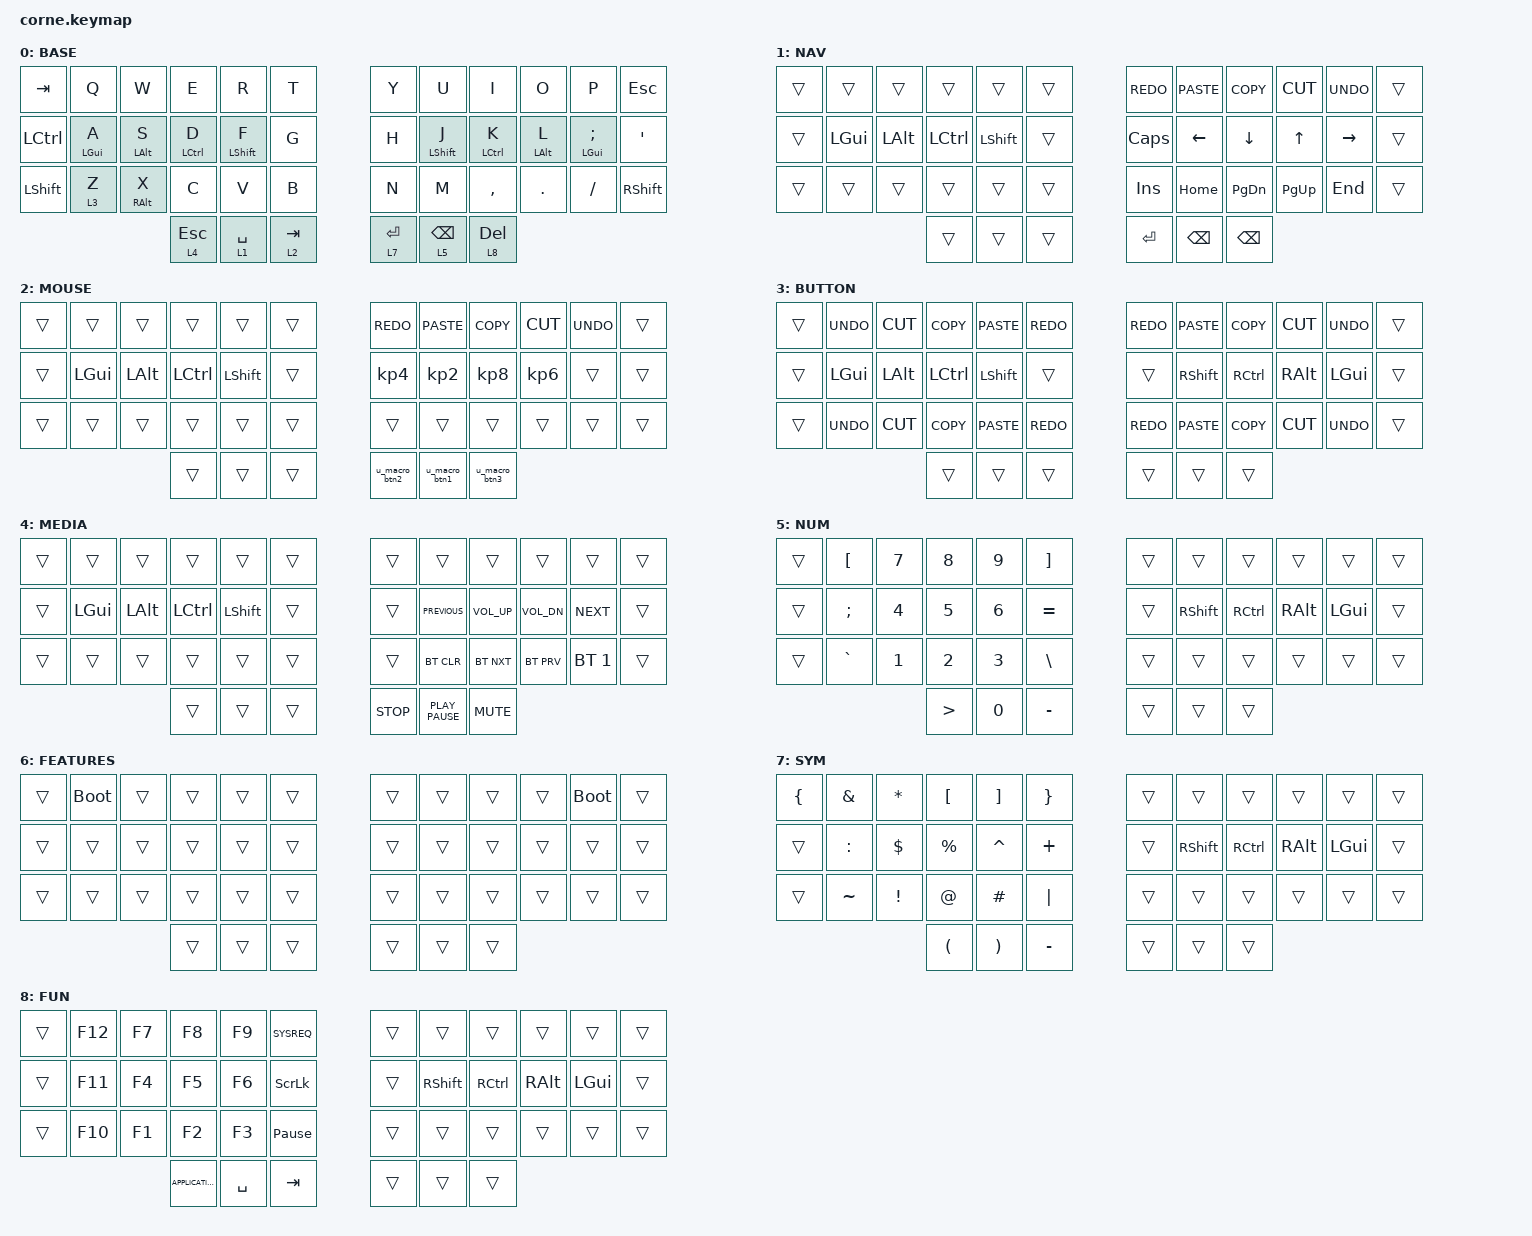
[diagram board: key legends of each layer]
/*
 * Copyright (c) 2020 The ZMK Contributors
 *
 * SPDX-License-Identifier: MIT
 */

#include <behaviors.dtsi>
#include <dt-bindings/zmk/bt.h>
#include <dt-bindings/zmk/keys.h>
#include <dt-bindings/zmk/mouse.h>

/ {
    behaviors {
        u_mt: u_mt {
            compatible = "zmk,behavior-hold-tap";
            label = "u_mt";
            #binding-cells = <2>;
            tapping_term_ms = <200>;
            flavor = "tap-preferred";
            bindings =
                <&kp>,
                <&kp>;

            tapping-term-ms = <200>;
        };
        u_lt: u_lt {
            compatible = "zmk,behavior-hold-tap";
            label = "u_lt";
            #binding-cells = <2>;
            tapping_term_ms = <200>;
            flavor = "tap-preferred";
            bindings =
                <&mo>,
                <&kp>;

            tapping-term-ms = <200>;
        };
    };

    macros {
        u_macro_btn1: u_macro_btn1 {
            compatible = "zmk,behavior-macro";
            label = "U_MACRO_BTN1";
            #binding-cells = <0>;
            bindings = <&kp KP_SLASH &kp KP_N5>;
        };
        u_macro_btn2: u_macro_btn2 {
            compatible = "zmk,behavior-macro";
            label = "U_MACRO_BTN2";
            #binding-cells = <0>;
            bindings = <&kp KP_MINUS &kp KP_N5>;
        };
        u_macro_btn3: u_macro_btn3 {
            compatible = "zmk,behavior-macro";
            label = "U_MACRO_BTN3";
            #binding-cells = <0>;
            bindings = <&kp KP_ASTERISK &kp KP_NUMBER_5>;
        };
    };

    keymap {
        compatible = "zmk,keymap";

        Base {
            bindings = <
  &kp TAB         &kp Q         &kp W          &kp E           &kp R        &kp T          &kp Y           &kp U          &kp I         &kp O            &kp P    &kp ESC
&kp LCTRL  &u_mt LGUI A  &u_mt LALT S  &u_mt LCTRL D  &u_mt LSHIFT F        &kp G          &kp H  &u_mt LSHIFT J  &u_mt LCTRL K  &u_mt LALT L  &u_mt LGUI SEMI    &kp SQT
&kp LSHFT     &u_lt 3 Z  &u_mt RALT X          &kp C           &kp V        &kp B          &kp N           &kp M      &kp COMMA       &kp DOT         &kp FSLH  &kp RSHFT
                                         &u_lt 4 ESC   &u_lt 1 SPACE  &u_lt 2 TAB    &u_lt 7 RET    &u_lt 5 BSPC    &u_lt 8 DEL
            >;

            label = "BASE";
        };

        Nav {
            bindings = <
&trans    &trans        &trans            &trans          &trans  &trans      &kp K_REDO     &kp K_PASTE      &kp K_COPY     &kp K_CUT       &kp K_UNDO  &trans
&trans  &kp LGUI  &kp LEFT_ALT  &kp LEFT_CONTROL  &kp LEFT_SHIFT  &trans    &kp CAPSLOCK  &kp LEFT_ARROW  &kp DOWN_ARROW  &kp UP_ARROW  &kp RIGHT_ARROW  &trans
&trans    &trans        &trans            &trans          &trans  &trans      &kp INSERT        &kp HOME   &kp PAGE_DOWN   &kp PAGE_UP          &kp END  &trans
                                          &trans          &trans  &trans      &kp RETURN        &kp BSPC   &kp BACKSPACE
            >;

            label = "NAV";
        };

        Mouse {
            bindings = <
&trans    &trans        &trans            &trans          &trans  &trans       &kp K_REDO      &kp K_PASTE       &kp K_COPY  &kp K_CUT  &kp K_UNDO  &trans
&trans  &kp LGUI  &kp LEFT_ALT  &kp LEFT_CONTROL  &kp LEFT_SHIFT  &trans        &kp KP_N4  &kp KP_NUMBER_2  &kp KP_NUMBER_8  &kp KP_N6      &trans  &trans
&trans    &trans        &trans            &trans          &trans  &trans           &trans           &trans           &trans     &trans      &trans  &trans
                                          &trans          &trans  &trans    &u_macro_btn2    &u_macro_btn1    &u_macro_btn3
            >;

            label = "MOUSE";
        };

        Button {
            bindings = <
&trans  &kp K_UNDO     &kp K_CUT        &kp K_COPY     &kp K_PASTE  &kp K_REDO    &kp K_REDO      &kp K_PASTE         &kp K_COPY      &kp K_CUT  &kp K_UNDO  &trans
&trans    &kp LGUI  &kp LEFT_ALT  &kp LEFT_CONTROL  &kp LEFT_SHIFT      &trans        &trans  &kp RIGHT_SHIFT  &kp RIGHT_CONTROL  &kp RIGHT_ALT    &kp LGUI  &trans
&trans  &kp K_UNDO     &kp K_CUT        &kp K_COPY     &kp K_PASTE  &kp K_REDO    &kp K_REDO      &kp K_PASTE         &kp K_COPY      &kp K_CUT  &kp K_UNDO  &trans
                                            &trans          &trans      &trans        &trans           &trans             &trans
            >;

            label = "BUTTON";
        };

        Media {
            bindings = <
&trans    &trans        &trans            &trans          &trans  &trans        &trans            &trans           &trans        &trans        &trans  &trans
&trans  &kp LGUI  &kp LEFT_ALT  &kp LEFT_CONTROL  &kp LEFT_SHIFT  &trans        &trans    &kp K_PREVIOUS  &kp C_VOLUME_UP  &kp C_VOL_DN    &kp K_NEXT  &trans
&trans    &trans        &trans            &trans          &trans  &trans        &trans        &bt BT_CLR       &bt BT_NXT    &bt BT_PRV  &bt BT_SEL 1  &trans
                                          &trans          &trans  &trans    &kp K_STOP  &kp K_PLAY_PAUSE       &kp K_MUTE
            >;

            label = "MEDIA";
        };

        Num {
            bindings = <
&trans  &kp LEFT_BRACKET  &kp NUMBER_7      &kp NUMBER_8  &kp NUMBER_9  &kp RIGHT_BRACKET    &trans           &trans             &trans         &trans    &trans  &trans
&trans     &kp SEMICOLON  &kp NUMBER_4      &kp NUMBER_5  &kp NUMBER_6          &kp EQUAL    &trans  &kp RIGHT_SHIFT  &kp RIGHT_CONTROL  &kp RIGHT_ALT  &kp LGUI  &trans
&trans         &kp GRAVE  &kp NUMBER_1      &kp NUMBER_2  &kp NUMBER_3      &kp BACKSLASH    &trans           &trans             &trans         &trans    &trans  &trans
                                        &kp GREATER_THAN  &kp NUMBER_0          &kp MINUS    &trans           &trans             &trans
            >;

            label = "NUM";
        };

        Features {
            bindings = <
&trans  &bootloader  &trans  &trans  &trans  &trans    &trans  &trans  &trans  &trans  &bootloader  &trans
&trans       &trans  &trans  &trans  &trans  &trans    &trans  &trans  &trans  &trans       &trans  &trans
&trans       &trans  &trans  &trans  &trans  &trans    &trans  &trans  &trans  &trans       &trans  &trans
                             &trans  &trans  &trans    &trans  &trans  &trans
            >;

            label = "FEATURES";
        };

        Sym {
            bindings = <
&kp LEFT_BRACE  &kp AMPERSAND        &kp ASTRK      &kp LEFT_BRACKET      &kp RIGHT_BRACKET  &kp RIGHT_BRACE    &trans           &trans     &trans         &trans    &trans  &trans
        &trans      &kp COLON       &kp DOLLAR           &kp PERCENT              &kp CARET         &kp PLUS    &trans  &kp RIGHT_SHIFT  &kp RCTRL  &kp RIGHT_ALT  &kp LGUI  &trans
        &trans      &kp TILDE  &kp EXCLAMATION           &kp AT_SIGN               &kp HASH         &kp PIPE    &trans           &trans     &trans         &trans    &trans  &trans
                                                &kp LEFT_PARENTHESIS  &kp RIGHT_PARENTHESIS        &kp MINUS    &trans           &trans     &trans
            >;

            label = "SYM";
        };

        Fun {
            bindings = <
&trans  &kp F12  &kp F7             &kp F8     &kp F9       &kp SYSREQ    &trans           &trans     &trans         &trans    &trans  &trans
&trans  &kp F11  &kp F4             &kp F5     &kp F6   &kp SCROLLLOCK    &trans  &kp RIGHT_SHIFT  &kp RCTRL  &kp RIGHT_ALT  &kp LGUI  &trans
&trans  &kp F10  &kp F1             &kp F2     &kp F3  &kp PAUSE_BREAK    &trans           &trans     &trans         &trans    &trans  &trans
                         &kp K_APPLICATION  &kp SPACE          &kp TAB    &trans           &trans     &trans
            >;

            label = "FUN";
        };
    };
};

&nice_view_spi {
    cs-gpios = <&pro_micro 0 GPIO_ACTIVE_HIGH>;
};
